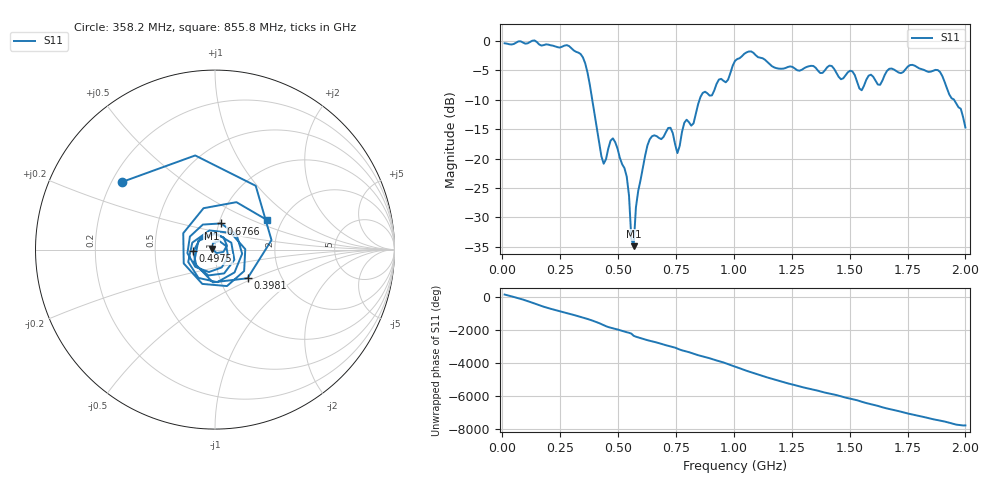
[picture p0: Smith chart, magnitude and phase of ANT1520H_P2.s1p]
!Created with skrf (http://scikit-rf.org).
# Hz S RI R 50.0
!freq ReS11 ImS11
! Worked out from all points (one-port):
!   201 points, 10 MHz to 2 GHz, reference 50 ohm
!   lowest |S11| = -34.9 dB at 567.2 MHz (marker M1), VSWR 1.04, Z = 48.3 + j0.488 ohm
!   |S11| at or under -10 dB: 388.4 MHz to 852 MHz (463.6 MHz wide, 74.7 % of centre); 1.951 GHz to end of sweep
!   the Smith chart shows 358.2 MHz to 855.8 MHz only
!   S11 on the Smith chart (normalised r, x): 358.2 MHz: 0.24, +0.31; 398.1 MHz: 1.35, -0.46; 497.6 MHz: 0.78, -0.01; 676.6 MHz: 1.02, +0.31; 855.8 MHz: 1.67, +0.62
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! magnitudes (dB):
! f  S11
! 10 MHz  -0.4
! 258.8 MHz  -1.0
! 358.2 MHz  -3.8
! 398.1 MHz  -12.3
! 437.9 MHz  -20.9
! 467.7 MHz  -17.0
! 497.6 MHz  -18.3
! 507.5 MHz  -19.8
! 537.4 MHz  -23.0
! 547.3 MHz  -26.3
! 557.2 MHz  -33.6
! 567.2 MHz  -34.9
! 577.1 MHz  -28.3
! 626.9 MHz  -17.7
! 676.6 MHz  -16.5
! 726.4 MHz  -14.8
! 756.2 MHz  -19.1
! 786.1 MHz  -13.9
! 825.9 MHz  -14.0
! 855.8 MHz  -9.5
! 965.2 MHz  -7.0
! 1.005 GHz  -3.4
! 1.254 GHz  -4.4
! 1.502 GHz  -5.1
! 1.552 GHz  -8.4
! 1.751 GHz  -4.4
! 1.891 GHz  -5.3
! 2 GHz  -14.7
